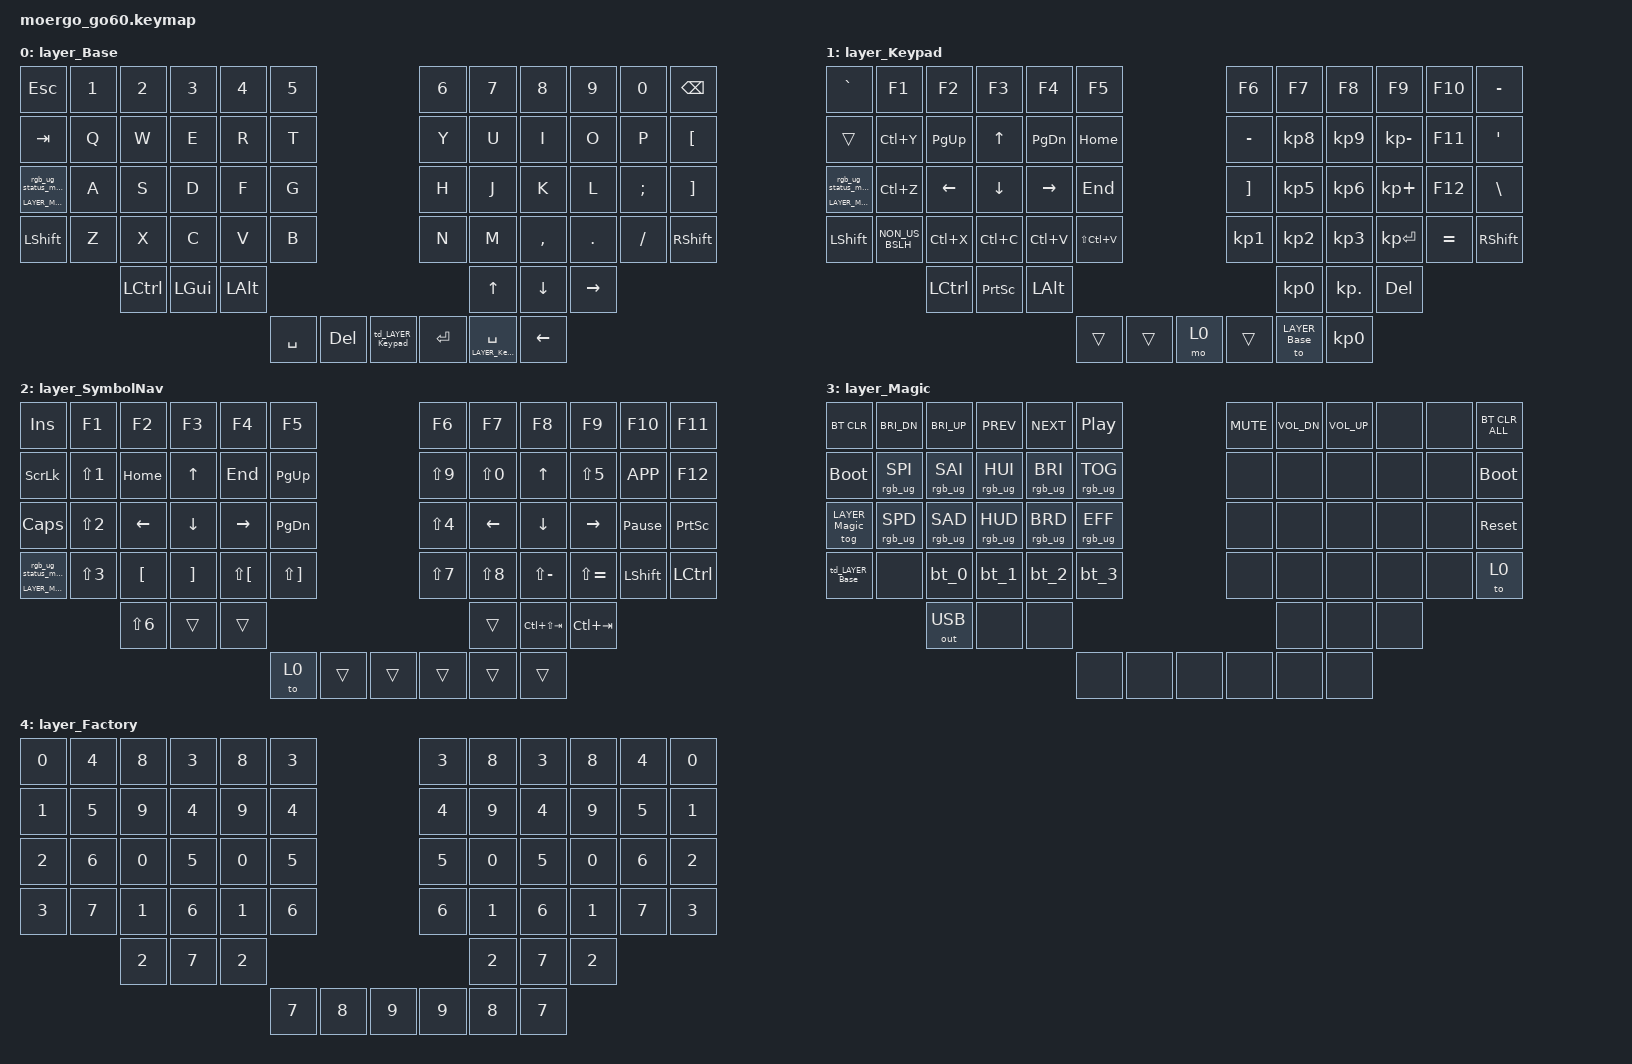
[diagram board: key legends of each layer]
/*
 * Copyright (c) 2020 The ZMK Contributors
 * Copyright (c) 2025 Innaworks Development Limited, trading as MoErgo
 *
 * SPDX-License-Identifier: MIT
 */


/* THIS FILE WAS GENERATED BY GO60 LAYOUT EDITOR
 *
 * This file was generated automatically. You may or may not want to
 * edit it directly.
 */

#include <behaviors.dtsi>

/* Include all behavior includes needed */

#include <dt-bindings/zmk/outputs.h>
#include <dt-bindings/zmk/keys.h>
#include <dt-bindings/zmk/bt.h>
#include <dt-bindings/zmk/rgb.h>

#include <input/processors.dtsi>
#include <dt-bindings/zmk/input_transform.h>
#include <zephyr/dt-bindings/input/input-event-codes.h>

/* On demand includes */
#include <dt-bindings/zmk/input_transform.h>
#include <dt-bindings/zmk/pointing.h>
#include <input/processors.dtsi>

/* Helper Macros, based on https://github.com/urob/zmk-helpers/ */

#pragma once

#define ZMK_HELPER_STRINGIFY(x) #x

// Preprocessor mechanism to overload macros, cf. https://stackoverflow.com/a/27051616/6114651
#define VARGS_(_10, _9, _8, _7, _6, _5, _4, _3, _2, _1, N, ...) N
#define VARGS(...) VARGS_(__VA_ARGS__, 10, 9, 8, 7, 6, 5, 4, 3, 2, 1, 0)
#define CONCAT_(a, b) a##b
#define CONCAT(a, b) CONCAT_(a, b)

#define ZMK_BEHAVIOR_CORE_tap_dance  \
    compatible = "zmk,behavior-tap-dance"; \
    #binding-cells = <0>

#define ZMK_BEHAVIOR(name, type, ...) \
    name: name { \
        ZMK_BEHAVIOR_CORE_ ## type; \
        __VA_ARGS__ \
    };

#define ZMK_TAP_DANCE(name, ...) \
    ZMK_BEHAVIOR(name, tap_dance, __VA_ARGS__)

#define ZMK_TD_LAYER(name, layer) \
    ZMK_TAP_DANCE(name, \
        tapping-term-ms = <200>; \
        bindings = <&mo layer>, <&to layer>; \
)




/* Locale-specific keycodes */

#define ES_APOS MINUS
#define ES_PLUS RIGHT_BRACKET
#define ES_MINUS SLASH
#define ES_DOT PERIOD
#define ES_COMMA COMMA
#define ES_LT NON_US_BACKSLASH
#define ES_GRAVE LEFT_BRACKET
#define ES_C_CEDILLA BACKSLASH
#define ES_IEXCL EQUAL
#define ES_ACUTE SINGLE_QUOTE
#define ES_ORDM GRAVE
#define ES_N_TILDE SEMICOLON
#define ES_N1 N1
#define ES_N2 N2
#define ES_N3 N3
#define ES_N4 N4
#define ES_N5 N5
#define ES_N6 N6
#define ES_N7 N7
#define ES_N8 N8
#define ES_N9 N9
#define ES_N0 N0
#define ES_E E



/* Key positions */

#define POS_LH_C6R1 0
#define POS_LH_C5R1 1
#define POS_LH_C4R1 2
#define POS_LH_C3R1 3
#define POS_LH_C2R1 4
#define POS_LH_C1R1 5
#define POS_RH_C1R1 6
#define POS_RH_C2R1 7
#define POS_RH_C3R1 8
#define POS_RH_C4R1 9
#define POS_RH_C5R1 10
#define POS_RH_C6R1 11
#define POS_LH_C6R2 12
#define POS_LH_C5R2 13
#define POS_LH_C4R2 14
#define POS_LH_C3R2 15
#define POS_LH_C2R2 16
#define POS_LH_C1R2 17
#define POS_RH_C1R2 18
#define POS_RH_C2R2 19
#define POS_RH_C3R2 20
#define POS_RH_C4R2 21
#define POS_RH_C5R2 22
#define POS_RH_C6R2 23
#define POS_LH_C6R3 24
#define POS_LH_C5R3 25
#define POS_LH_C4R3 26
#define POS_LH_C3R3 27
#define POS_LH_C2R3 28
#define POS_LH_C1R3 29
#define POS_RH_C1R3 30
#define POS_RH_C2R3 31
#define POS_RH_C3R3 32
#define POS_RH_C4R3 33
#define POS_RH_C5R3 34
#define POS_RH_C6R3 35
#define POS_LH_C6R4 36
#define POS_LH_C5R4 37
#define POS_LH_C4R4 38
#define POS_LH_C3R4 39
#define POS_LH_C2R4 40
#define POS_LH_C1R4 41
#define POS_RH_C1R4 42
#define POS_RH_C2R4 43
#define POS_RH_C3R4 44
#define POS_RH_C4R4 45
#define POS_RH_C5R4 46
#define POS_RH_C6R4 47
#define POS_LH_C4R5 48
#define POS_LH_C3R5 49
#define POS_LH_C2R5 50
#define POS_RH_C2R5 51
#define POS_RH_C3R5 52
#define POS_RH_C4R5 53
#define POS_LH_T1 54
#define POS_LH_T2 55
#define POS_LH_T3 56
#define POS_RH_T3 57
#define POS_RH_T2 58
#define POS_RH_T1 59


#define LEFT_HAND_KEYS \
  POS_LH_C1R1 POS_LH_C2R1 POS_LH_C3R1 POS_LH_C4R1 POS_LH_C5R1 POS_LH_C6R1 \
  POS_LH_C1R2 POS_LH_C2R2 POS_LH_C3R2 POS_LH_C4R2 POS_LH_C5R2 POS_LH_C6R2 \
  POS_LH_C1R3 POS_LH_C2R3 POS_LH_C3R3 POS_LH_C4R3 POS_LH_C5R3 POS_LH_C6R3 \
  POS_LH_C1R4 POS_LH_C2R4 POS_LH_C3R4 POS_LH_C4R4 POS_LH_C5R4 POS_LH_C6R4 \
              POS_LH_C2R5 POS_LH_C3R5 POS_LH_C4R5

#define RIGHT_HAND_KEYS \
  POS_RH_C1R1 POS_RH_C2R1 POS_RH_C3R1 POS_RH_C4R1 POS_RH_C5R1 POS_RH_C6R1 \
  POS_RH_C1R2 POS_RH_C2R2 POS_RH_C3R2 POS_RH_C4R2 POS_RH_C5R2 POS_RH_C6R2 \
  POS_RH_C1R3 POS_RH_C2R3 POS_RH_C3R3 POS_RH_C4R3 POS_RH_C5R3 POS_RH_C6R3 \
  POS_RH_C1R4 POS_RH_C2R4 POS_RH_C3R4 POS_RH_C4R4 POS_RH_C5R4 POS_RH_C6R4 \
              POS_RH_C2R5 POS_RH_C3R5 POS_RH_C4R5

#define THUMB_KEYS \
  POS_LH_T1 POS_LH_T2 POS_LH_T3 \
  POS_RH_T1 POS_RH_T2 POS_RH_T3

/* Environment and metadata defines */
#define KB_TYPE_GLOVE_80 1
#define KB_TYPE_GO_60    2

#define KB_TYPE          KB_TYPE_GO_60
#define EDITOR_LAYOUT_OS 'W'
#define EDITOR_HOST_OS   'W'

/* Automatically generated layer name defines */
#define LAYER_Base 0
#define LAYER_Keypad 1
#define LAYER_SymbolNav 2
#define LAYER_Magic 3
#define LAYER_Factory 4

/* To deal with the situation where there is no Lower layer, to keep &lower happy */
#ifndef LAYER_Lower
#define LAYER_Lower 0
#endif

/* Generated input processors */
/ {
    input_processors {
        zip_click_to_right_click_mapper: zip_click_to_right_click_mapper {
            compatible = "zmk,input-processor-code-mapper";
            #input-processor-cells = <0>;
            type = <INPUT_EV_KEY>;
            map = <INPUT_BTN_0 INPUT_BTN_1>;
        };
    };
};

/* Custom Device-tree */


/* Input Listeners */
&cirque_rh_listener {
    input-processors = <&zip_xy_scaler 11 12>, <&zip_xy_transform INPUT_TRANSFORM_Y_INVERT>, <&zip_xy_to_scroll_mapper>;
    layer_SymbolNav {
        layers = <LAYER_SymbolNav>;
        input-processors = <&zip_xy_scaler 9 1>;
    };
};

&cirque_lh_listener {
    input-processors = <&zip_xy_scaler 3 1>, <&zip_click_to_right_click_mapper>;
    layer_Factory {
        layers = <LAYER_Factory>;
        input-processors = <&zip_xy_scaler 3 1>;
    };
};

/* System behavior and macros */
/ {
    behaviors {
        ZMK_TD_LAYER(lower, LAYER_Lower)
    };
};

/ {
    macros {
        rgb_ug_status_macro: rgb_ug_status_macro {
            label = "RGB_UG_STATUS";
            compatible = "zmk,behavior-macro";
            #binding-cells = <0>;
            bindings
                = <&rgb_ug RGB_STATUS>;
        };
    };
};

/ {
#ifdef BT_DISC_CMD
    behaviors {
        bt_0: bt_0 {
            compatible = "zmk,behavior-tap-dance";
            label = "BT_0";
            #binding-cells = <0>;
            tapping-term-ms = <200>;
            bindings = <&bt_select_0>, <&bt BT_DISC 0>;
        };
        bt_1: bt_1 {
            compatible = "zmk,behavior-tap-dance";
            label = "BT_1";
            #binding-cells = <0>;
            tapping-term-ms = <200>;
            bindings = <&bt_select_1>, <&bt BT_DISC 1>;
        };
        bt_2: bt_2 {
            compatible = "zmk,behavior-tap-dance";
            label = "BT_2";
            #binding-cells = <0>;
            tapping-term-ms = <200>;
            bindings = <&bt_select_2>, <&bt BT_DISC 2>;
        };
        bt_3: bt_3 {
            compatible = "zmk,behavior-tap-dance";
            label = "BT_3";
            #binding-cells = <0>;
            tapping-term-ms = <200>;
            bindings = <&bt_select_3>, <&bt BT_DISC 3>;
        };
    };
    macros {
        bt_select_0: bt_select_0 {
            label = "BT_SELECT_0";
            compatible = "zmk,behavior-macro";
            #binding-cells = <0>;
            bindings
                = <&out OUT_BLE>,
                  <&bt BT_SEL 0>;
        };
        bt_select_1: bt_select_1 {
            label = "BT_SELECT_1";
            compatible = "zmk,behavior-macro";
            #binding-cells = <0>;
            bindings
                = <&out OUT_BLE>,
                  <&bt BT_SEL 1>;
        };
        bt_select_2: bt_select_2 {
            label = "BT_SELECT_2";
            compatible = "zmk,behavior-macro";
            #binding-cells = <0>;
            bindings
                = <&out OUT_BLE>,
                  <&bt BT_SEL 2>;
        };
        bt_select_3: bt_select_3 {
            label = "BT_SELECT_3";
            compatible = "zmk,behavior-macro";
            #binding-cells = <0>;
            bindings
                = <&out OUT_BLE>,
                  <&bt BT_SEL 3>;
        };
    };
#else
    macros {
        bt_0: bt_0 {
            label = "BT_0";
            compatible = "zmk,behavior-macro";
            #binding-cells = <0>;
            bindings
                = <&out OUT_BLE>,
                  <&bt BT_SEL 0>;
        };
        bt_1: bt_1 {
            label = "BT_1";
            compatible = "zmk,behavior-macro";
            #binding-cells = <0>;
            bindings
                = <&out OUT_BLE>,
                  <&bt BT_SEL 1>;
        };
        bt_2: bt_2 {
            label = "BT_2";
            compatible = "zmk,behavior-macro";
            #binding-cells = <0>;
            bindings
                = <&out OUT_BLE>,
                  <&bt BT_SEL 2>;
        };
        bt_3: bt_3 {
            label = "BT_3";
            compatible = "zmk,behavior-macro";
            #binding-cells = <0>;
            bindings
                = <&out OUT_BLE>,
                  <&bt BT_SEL 3>;
        };
    };
#endif
};

/ {
    behaviors {
        magic: magic {
            compatible = "zmk,behavior-hold-tap";
            label = "MAGIC_HOLD_TAP";
            #binding-cells = <2>;
            flavor = "tap-preferred";
            tapping-term-ms = <200>;
            bindings = <&mo>, <&rgb_ug_status_macro>;
        };
    };
};


/* Custom Defined Behaviors */
/
{
    macros {

        rgb_base: rgb_base {
            label = "RGB_BASE";
            compatible = "zmk,behavior-macro";
            #binding-cells = <0>;
            bindings = <&rgb_ug RGB_COLOR_HSB(120,100,50)>; // verde
        };

        rgb_keys: rgb_keys {
            label = "RGB_KEYS";
            compatible = "zmk,behavior-macro";
            #binding-cells = <0>;
            bindings = <&rgb_ug RGB_COLOR_HSB(120,80,30)>; // verde más suave
        };

        rgb_numbers: rgb_numbers {
            label = "RGB_NUMBERS";
            compatible = "zmk,behavior-macro";
            #binding-cells = <0>;
            bindings = <&rgb_ug RGB_COLOR_HSB(50,100,50)>; // amarillo
        };

        rgb_mods: rgb_mods {
            label = "RGB_MODS";
            compatible = "zmk,behavior-macro";
            #binding-cells = <0>;
            bindings = <&rgb_ug RGB_COLOR_HSB(30,100,50)>; // naranja
        };

    };
};

/* Automatically generated macro definitions */
/ {
    macros {

    };
};

/* Automatically generated behavior definitions */
/ {
    behaviors {

        // Layer tap dance behaviors

        ZMK_TD_LAYER(td_LAYER_Base, 0)
        ZMK_TD_LAYER(td_LAYER_Keypad, 1)

    };
};

/* Automatically generated combos definitions */


/* Automatically generated keymap */
/ {
    keymap {
        compatible = "zmk,keymap";


        layer_Base {
            &rgb_keys
            bindings = <
              &kp ESC  &kp N1     &kp N2    &kp N3    &kp N4  &kp N5                                                                                   &kp N6  &kp N7     &kp N8     &kp N9    &kp N0   &kp BSPC
              &kp TAB   &kp Q      &kp W     &kp E     &kp R   &kp T                                                                                    &kp Y   &kp U      &kp I      &kp O     &kp P   &kp LBKT
 &magic LAYER_Magic 0   &kp A      &kp S     &kp D     &kp F   &kp G                                                                                    &kp H   &kp J      &kp K      &kp L  &kp SEMI   &kp RBKT
            &kp LSHFT   &kp Z      &kp X     &kp C     &kp V   &kp B                                                                                    &kp N   &kp M  &kp COMMA    &kp DOT  &kp FSLH  &kp RSHFT
                               &kp LCTRL  &kp LGUI  &kp LALT                                                                                                   &kp UP   &kp DOWN  &kp RIGHT
                                                                      &kp SPACE  &kp DEL  &td_LAYER_Keypad  &kp RET  &lt LAYER_Keypad SPACE  &kp LEFT
            >;
        };

        layer_Keypad {
            &rgb_numbers
            bindings = <
            &kp GRAVE           &kp F1     &kp F2     &kp F3     &kp F4         &kp F5                                                                &kp F6     &kp F7      &kp F8        &kp F9    &kp F10  &kp MINUS
               &trans        &kp LC(Y)  &kp PG_UP     &kp UP  &kp PG_DN       &kp HOME                                                             &kp MINUS  &kp KP_N8   &kp KP_N9  &kp KP_MINUS    &kp F11    &kp SQT
 &magic LAYER_Magic 0        &kp LC(Z)   &kp LEFT   &kp DOWN  &kp RIGHT        &kp END                                                              &kp RBKT  &kp KP_N5   &kp KP_N6   &kp KP_PLUS    &kp F12   &kp BSLH
            &kp LSHFT  &kp NON_US_BSLH  &kp LC(X)  &kp LC(C)  &kp LC(V)  &kp LS(LC(V))                                                             &kp KP_N1  &kp KP_N2   &kp KP_N3  &kp KP_ENTER  &kp EQUAL  &kp RSHFT
                                        &kp LCTRL  &kp PSCRN   &kp LALT                                                                                       &kp KP_N0  &kp KP_DOT       &kp DEL
                                                                                        &trans  &trans   &mo 0  &trans  &to LAYER_Base  &kp KP_N0
            >;
        };

        layer_SymbolNav {
            &rgb_mods
            bindings = <
              &kp INS      &kp F1      &kp F2    &kp F3        &kp F4        &kp F5                                                      &kp F6      &kp F7           &kp F8         &kp F9          &kp F10    &kp F11
             &kp SLCK  &kp LS(N1)    &kp HOME    &kp UP       &kp END     &kp PG_UP                                                  &kp LS(N9)  &kp LS(N0)           &kp UP     &kp LS(N5)        &kp K_APP    &kp F12
             &kp CAPS  &kp LS(N2)    &kp LEFT  &kp DOWN     &kp RIGHT     &kp PG_DN                                                  &kp LS(N4)    &kp LEFT         &kp DOWN      &kp RIGHT  &kp PAUSE_BREAK  &kp PSCRN
 &magic LAYER_Magic 0  &kp LS(N3)    &kp LBKT  &kp RBKT  &kp LS(LBKT)  &kp LS(RBKT)                                                  &kp LS(N7)  &kp LS(N8)    &kp LS(MINUS)  &kp LS(EQUAL)        &kp LSHFT  &kp LCTRL
                                   &kp LS(N6)    &trans        &trans                                                                                &trans  &kp LC(LS(TAB))    &kp LC(TAB)
                                                                                      &to 0  &trans  &trans  &trans  &trans  &trans
            >;
        };

        layer_Magic {
            bindings = <
       &bt BT_CLR     &kp C_BRI_DN     &kp C_BRI_UP       &kp C_PREV       &kp C_NEXT         &kp C_PP                                                  &kp C_MUTE  &kp C_VOL_DN  &kp C_VOL_UP   &none   &none  &bt BT_CLR_ALL
      &bootloader  &rgb_ug RGB_SPI  &rgb_ug RGB_SAI  &rgb_ug RGB_HUI  &rgb_ug RGB_BRI  &rgb_ug RGB_TOG                                                       &none         &none         &none   &none   &none     &bootloader
 &tog LAYER_Magic  &rgb_ug RGB_SPD  &rgb_ug RGB_SAD  &rgb_ug RGB_HUD  &rgb_ug RGB_BRD  &rgb_ug RGB_EFF                                                       &none         &none         &none   &none   &none      &sys_reset
   &td_LAYER_Base            &none            &bt_0            &bt_1            &bt_2            &bt_3                                                       &none         &none         &none   &none   &none           &to 0
                                       &out OUT_USB            &none            &none                                                                                      &none         &none   &none
                                                                                                         &none   &none   &none   &none   &none   &none
            >;
        };

        layer_Factory {
            bindings = <
 &kp N0  &kp N4  &kp N8  &kp N3  &kp N8  &kp N3                                                  &kp N3  &kp N8  &kp N3  &kp N8  &kp N4  &kp N0
 &kp N1  &kp N5  &kp N9  &kp N4  &kp N9  &kp N4                                                  &kp N4  &kp N9  &kp N4  &kp N9  &kp N5  &kp N1
 &kp N2  &kp N6  &kp N0  &kp N5  &kp N0  &kp N5                                                  &kp N5  &kp N0  &kp N5  &kp N0  &kp N6  &kp N2
 &kp N3  &kp N7  &kp N1  &kp N6  &kp N1  &kp N6                                                  &kp N6  &kp N1  &kp N6  &kp N1  &kp N7  &kp N3
                 &kp N2  &kp N7  &kp N2                                                                  &kp N2  &kp N7  &kp N2
                                                 &kp N7  &kp N8  &kp N9  &kp N9  &kp N8  &kp N7
            >;
        };

    };
};
